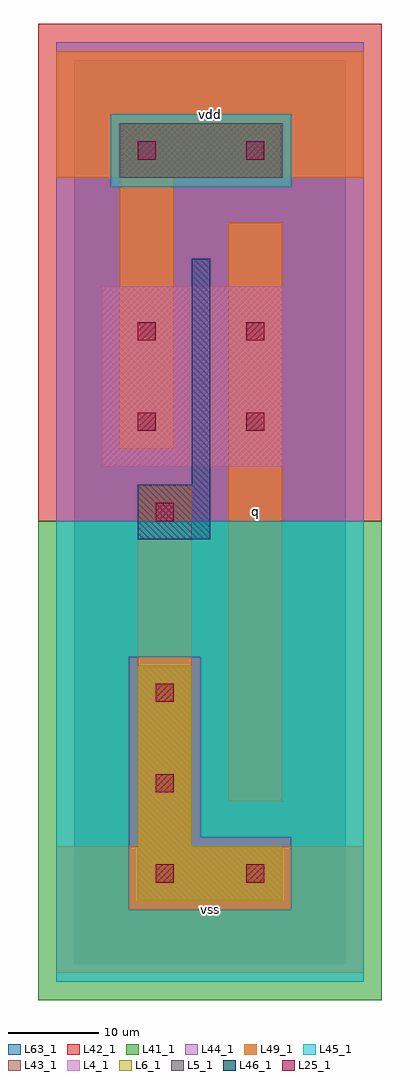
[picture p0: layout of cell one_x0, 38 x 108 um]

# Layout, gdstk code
import gdstk
lib = gdstk.Library(unit=1e-6, precision=1e-09)
def R(c, l, rs):  # rectangles x0, y0, x1, y1
    for r in rs: c.add(gdstk.rectangle(r[:2], r[2:], *l))
def A(c, l, x, y, w, h, nx, ny, dx, dy):  # array of equal rectangles
    R(c, l, [(x+i*dx, y+j*dy, x+i*dx+w, y+j*dy+h) for i in range(nx) for j in range(ny)])
L4_1 = (4, 1)
L5_1 = (5, 1)
L6_1 = (6, 1)
L25_1 = (25, 1)
L41_1 = (41, 1)
L42_1 = (42, 1)
L43_1 = (43, 1)
L44_1 = (44, 1)
L45_1 = (45, 1)
L46_1 = (46, 1)
L49_1 = (49, 1)
L63_1 = (63, 1)

one_x0 = lib.new_cell('one_x0')
R(one_x0, L4_1, [(3,55,23,75)])
R(one_x0, L5_1, [(5,87,23,93)])
R(one_x0, L6_1, [(7,7,23,13), (7,13,13,33)])
A(one_x0, L25_1, 9, 9, 2, 2, 1, 3, 0, 10)
R(one_x0, L25_1, [(19,9,21,11), (9,49,11,51), (7,59,9,61), (19,59,21,61), (7,69,9,71), (19,69,21,71), (7,89,9,91), (19,89,21,91)])
R(one_x0, L41_1, [(-4,-4,34,49)])
R(one_x0, L42_1, [(-4,49,34,104)])
R(one_x0, L43_1, [(7,7,23,13), (7,13,13,33), (3,55,23,75), (5,87,23,93)])
R(one_x0, L44_1, [(6,6,24,14), (6,14,14,34), (-2,49,32,86), (-2,86,4,94), (24,86,32,94), (-2,94,32,102)])
R(one_x0, L45_1, [(-2,-2,32,6), (-2,6,6,34), (24,6,32,14), (14,14,32,34), (-2,34,32,49), (4,86,24,94)])
R(one_x0, L46_1, [(7,47,15,53), (13,53,15,78)])
R(one_x0, L49_1, [(-2,-1,32,13), (7,13,13,53), (17,18,23,82), (5,57,11,87), (-2,87,32,101)])
R(one_x0, L63_1, [(0,0,30,100)])
one_x0.add(gdstk.Label('vss', (15,6), layer=49, texttype=1))
one_x0.add(gdstk.Label('vss', (15,6), layer=49, texttype=1))
one_x0.add(gdstk.Label('vdd', (15,94), layer=49, texttype=1))
one_x0.add(gdstk.Label('vdd', (15,94), layer=49, texttype=1))
one_x0.add(gdstk.Label('q', (20,50), layer=49, texttype=1))
one_x0.add(gdstk.Label('q', (20,50), layer=49, texttype=1))

lib.write_gds('one_x0.gds')
